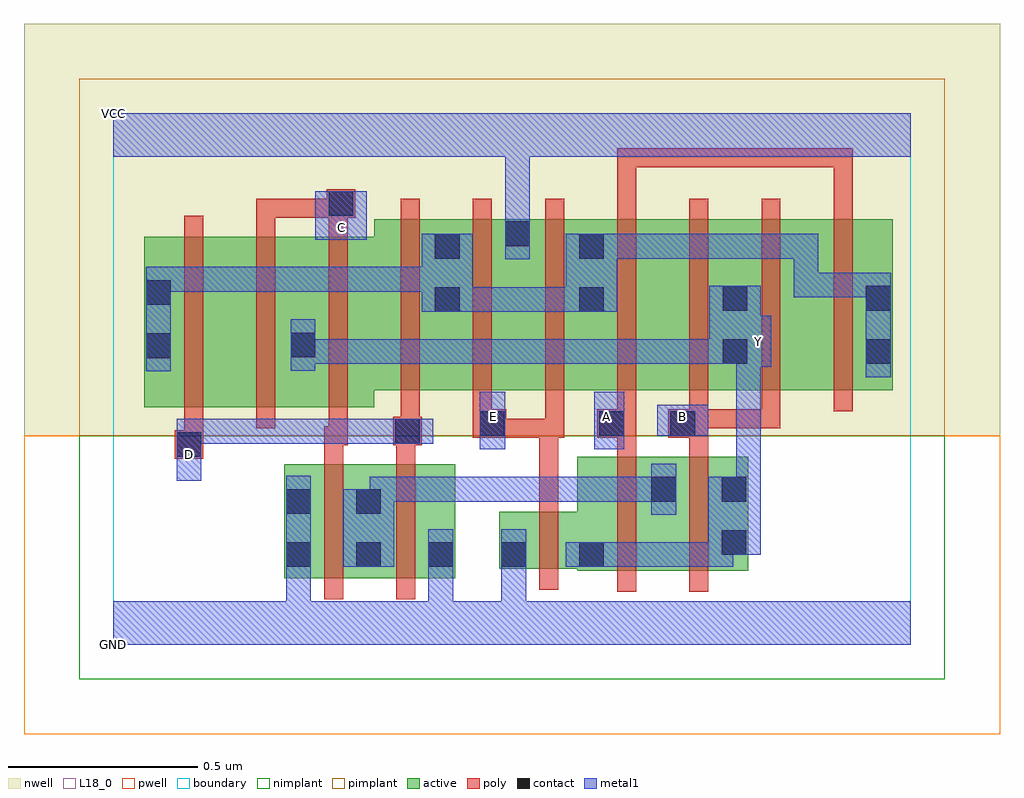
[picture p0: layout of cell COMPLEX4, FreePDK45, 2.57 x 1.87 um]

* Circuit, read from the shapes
.subckt COMPLEX4 A B C D E GND VCC Y
M1 n1 C GND VSUBS nfet w=0.3u l=0.05u
M2 GND D n1 VSUBS nfet w=0.3u l=0.05u
M3 Y E GND VSUBS nfet w=0.15u l=0.05u
M4 n1 A Y VSUBS nfet w=0.3u l=0.05u
M5 Y B n1 VSUBS nfet w=0.3u l=0.05u
M6 n2 D n3 n4 pfet w=0.45u l=0.05u
M7 Y C n2 n4 pfet w=0.45u l=0.05u
M8 n5 C Y n4 pfet w=0.45u l=0.05u
M9 n3 D n5 n4 pfet w=0.45u l=0.05u
M10 VCC E n3 n4 pfet w=0.45u l=0.05u m=2
M11 n6 A n3 n4 pfet w=0.45u l=0.05u
M12 Y B n6 n4 pfet w=0.45u l=0.05u
M13 n7 B Y n4 pfet w=0.45u l=0.05u
M14 n3 A n7 n4 pfet w=0.45u l=0.05u
.ends

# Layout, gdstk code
import gdstk
lib = gdstk.Library(unit=1e-6, precision=1e-09)
def R(c, l, rs):  # rectangles x0, y0, x1, y1
    for r in rs: c.add(gdstk.rectangle(r[:2], r[2:], *l))
def A(c, l, x, y, w, h, nx, ny, dx, dy):  # array of equal rectangles
    R(c, l, [(x+i*dx, y+j*dy, x+i*dx+w, y+j*dy+h) for i in range(nx) for j in range(ny)])
active = (1, 0)
pwell = (2, 0)
nwell = (3, 0)
nimplant = (4, 0)
pimplant = (5, 0)
poly = (9, 0)
contact = (10, 0)
metal1 = (11, 0)
L18_0 = (18, 0)
boundary = (235, 0)

complex4 = lib.new_cell('COMPLEX4')
R(complex4, active, [(0.45,0.175,0.525,0.475), (0.45,0.175,0.71,0.475), (0.635,0.175,0.9,0.475), (0.825,0.175,0.9,0.392), (0.635,0.195,0.71,0.475), (1.222,0.195,1.487,0.495), (1.412,0.195,1.672,0.495), (1.412,0.195,1.487,0.447), (1.597,0.195,1.672,0.495), (1.017,0.2,1.092,0.35), (1.017,0.2,1.297,0.35), (1.222,0.2,1.297,0.35), (0.082,0.625,0.307,1.075), (0.082,0.625,0.157,1.055), (0.307,0.625,0.537,1.075), (0.462,0.625,0.687,1.075), (0.687,0.67,0.917,1.12), (0.842,0.67,1.102,1.12), (1.027,0.67,1.297,1.12), (1.222,0.67,1.447,1.12), (1.447,0.67,1.675,1.12), (1.6,0.67,1.827,1.12), (1.827,0.67,2.052,1.12), (1.977,0.67,2.052,1.055), (1.222,0.722,1.297,1.087), (1.6,0.732,1.675,1.055), (0.462,0.752,0.537,0.877), (1.027,0.752,1.102,1.12), (0.842,0.857,0.917,1.087)])
R(complex4, pwell, [(-0.235,-0.235,2.335,0.55)])
R(complex4, nwell, [(-0.235,0.55,2.335,1.635)])
R(complex4, nimplant, [(-0.09,-0.09,2.19,0.55)])
R(complex4, pimplant, [(-0.09,0.55,2.19,1.49)])
A(complex4, poly, 0.187, 0.57, 0.05, 0.56, 3, 1, 0.19, 0)
A(complex4, poly, 1.327, 0.57, 0.05, 0.095, 3, 1, 0.19, 0)
A(complex4, poly, 0.757, 0.615, 0.05, 0.56, 7, 1, 0.19, 0)
R(complex4, poly, [(0.555,0.12,0.605,0.53), (0.745,0.12,0.795,0.53), (1.327,0.14,1.377,0.55), (1.517,0.14,1.567,0.55), (1.122,0.145,1.172,0.405), (1.122,0.355,1.172,0.595), (0.555,0.48,0.605,0.575), (0.745,0.48,0.795,0.575), (0.162,0.49,0.237,0.565), (1.327,0.5,1.377,0.595), (1.517,0.5,1.567,0.595), (0.187,0.515,0.237,0.62), (0.555,0.525,0.617,0.575), (0.567,0.525,0.617,0.62), (0.737,0.525,0.812,0.6), (0.947,0.545,1.035,0.62), (0.985,0.545,1.172,0.595), (1.122,0.545,1.172,0.595), (1.122,0.545,1.172,0.595), (1.122,0.545,1.187,0.595), (1.137,0.545,1.187,0.665), (1.275,0.545,1.377,0.62), (1.462,0.545,1.567,0.62), (0.757,0.55,0.807,0.665), (0.947,0.57,0.997,0.665), (1.517,0.57,1.567,0.62), (1.517,0.57,1.567,0.62), (1.517,0.57,1.757,0.62), (1.707,0.57,1.757,0.62), (0.377,1.08,0.427,1.175), (0.567,1.08,0.617,1.175), (0.377,1.125,0.427,1.175), (0.377,1.125,0.427,1.175), (0.377,1.125,0.427,1.175), (0.377,1.125,0.612,1.175), (0.562,1.125,0.637,1.2), (1.327,1.125,1.377,1.307), (1.897,1.125,1.947,1.307), (1.327,1.257,1.377,1.307), (1.327,1.257,1.377,1.307), (1.327,1.257,1.377,1.307), (1.327,1.257,1.625,1.307), (1.575,1.257,1.625,1.307), (1.575,1.257,1.625,1.307), (1.575,1.257,1.625,1.307), (1.575,1.257,1.815,1.307), (1.765,1.257,1.815,1.307), (1.765,1.257,1.947,1.307), (1.897,1.257,1.947,1.307), (1.897,1.257,1.947,1.307), (1.897,1.257,1.947,1.307)])
R(complex4, contact, [(0.455,0.205,0.52,0.27), (0.64,0.205,0.705,0.27), (0.83,0.205,0.895,0.27), (1.022,0.205,1.087,0.27), (1.227,0.205,1.292,0.27), (1.602,0.237,1.667,0.302), (0.455,0.345,0.52,0.41), (0.64,0.345,0.705,0.41), (1.417,0.377,1.482,0.442), (1.602,0.377,1.667,0.442), (0.167,0.495,0.232,0.56), (0.742,0.53,0.807,0.595), (0.965,0.55,1.03,0.615), (1.28,0.55,1.345,0.615), (1.467,0.55,1.532,0.615), (1.605,0.74,1.67,0.805), (1.982,0.74,2.047,0.805), (0.087,0.755,0.152,0.82), (0.467,0.757,0.532,0.822), (0.847,0.877,0.912,0.942), (1.227,0.877,1.292,0.942), (1.605,0.88,1.67,0.945), (1.982,0.88,2.047,0.945), (0.087,0.895,0.152,0.96), (0.847,1.017,0.912,1.082), (1.227,1.017,1.292,1.082), (1.032,1.05,1.097,1.115), (0.567,1.13,0.632,1.195)])
R(complex4, metal1, [(0,0,2.1,0.115), (0.455,0.05,0.52,0.235), (0.83,0.05,0.895,0.235), (1.022,0.05,1.087,0.115), (1.022,0.05,1.087,0.115), (1.022,0.05,1.087,0.235), (0.455,0.17,0.52,0.445), (0.83,0.17,0.895,0.305), (1.022,0.17,1.087,0.305), (0.605,0.205,0.74,0.41), (1.192,0.205,1.327,0.27), (1.262,0.205,1.327,0.27), (1.262,0.205,1.327,0.27), (1.262,0.205,1.495,0.27), (1.43,0.205,1.495,0.27), (1.43,0.205,1.495,0.27), (1.43,0.205,1.495,0.27), (1.43,0.205,1.632,0.27), (1.567,0.205,1.632,0.27), (1.567,0.205,1.632,0.302), (1.567,0.237,1.705,0.442), (1.417,0.342,1.482,0.477), (0.675,0.345,0.74,0.41), (0.675,0.345,0.74,0.442), (0.675,0.377,0.877,0.442), (0.812,0.377,0.877,0.442), (0.812,0.377,0.877,0.442), (0.812,0.377,0.877,0.442), (0.812,0.377,1.12,0.442), (1.055,0.377,1.12,0.442), (1.055,0.377,1.132,0.442), (1.067,0.377,1.132,0.442), (1.067,0.377,1.345,0.442), (1.28,0.377,1.345,0.442), (1.28,0.377,1.345,0.442), (1.28,0.377,1.345,0.442), (1.28,0.377,1.482,0.442), (1.64,0.377,1.705,0.797), (0.167,0.432,0.232,0.595), (0.965,0.515,1.032,0.667), (1.267,0.515,1.345,0.667), (0.167,0.53,0.37,0.595), (0.305,0.53,0.37,0.595), (0.305,0.53,0.37,0.595), (0.305,0.53,0.37,0.595), (0.305,0.53,0.532,0.595), (0.467,0.53,0.532,0.595), (0.467,0.53,0.532,0.595), (0.467,0.53,0.532,0.595), (0.467,0.53,0.74,0.595), (0.675,0.53,0.74,0.595), (0.675,0.53,0.772,0.595), (0.707,0.53,0.842,0.595), (1.432,0.55,1.567,0.632), (1.982,0.705,2.047,0.98), (0.087,0.72,0.152,0.995), (0.467,0.722,0.532,0.857), (1.64,0.732,1.732,0.867), (0.467,0.74,0.532,0.805), (0.467,0.74,0.532,0.805), (0.467,0.74,0.74,0.805), (0.675,0.74,0.74,0.805), (0.675,0.74,0.74,0.805), (0.675,0.74,0.74,0.805), (0.675,0.74,0.877,0.805), (0.812,0.74,0.877,0.805), (0.812,0.74,0.877,0.805), (0.812,0.74,0.877,0.805), (0.812,0.74,1.12,0.805), (1.055,0.74,1.12,0.805), (1.055,0.74,1.12,0.805), (1.055,0.74,1.12,0.805), (1.055,0.74,1.27,0.805), (1.205,0.74,1.27,0.805), (1.205,0.74,1.27,0.805), (1.205,0.74,1.27,0.805), (1.205,0.74,1.495,0.805), (1.43,0.74,1.495,0.805), (1.43,0.74,1.635,0.805), (1.57,0.74,1.635,0.805), (1.57,0.74,1.635,0.805), (1.57,0.74,1.705,0.945), (1.64,0.74,1.705,0.805), (0.812,0.877,0.947,1.082), (0.882,0.877,0.947,0.942), (0.882,0.877,0.947,0.942), (0.882,0.877,1.12,0.942), (1.055,0.877,1.12,0.942), (1.055,0.877,1.12,0.942), (1.055,0.877,1.12,0.942), (1.055,0.877,1.257,0.942), (1.192,0.877,1.327,1.082), (1.792,0.915,1.857,0.98), (1.792,0.915,2.047,0.98), (1.792,0.915,1.857,1.082), (1.982,0.915,2.047,0.98), (1.982,0.915,2.047,0.98), (0.087,0.93,0.152,0.995), (0.087,0.93,0.152,0.995), (0.087,0.93,0.37,0.995), (0.305,0.93,0.37,0.995), (0.305,0.93,0.37,0.995), (0.305,0.93,0.37,0.995), (0.305,0.93,0.37,0.995), (0.305,0.93,0.37,0.995), (0.305,0.93,0.532,0.995), (0.467,0.93,0.532,0.995), (0.467,0.93,0.532,0.995), (0.467,0.93,0.532,0.995), (0.467,0.93,0.74,0.995), (0.675,0.93,0.74,0.995), (0.675,0.93,0.74,0.995), (0.675,0.93,0.74,0.995), (0.675,0.93,0.877,0.995), (1.032,1.015,1.097,1.15), (1.262,1.017,1.327,1.082), (1.262,1.017,1.327,1.082), (1.262,1.017,1.495,1.082), (1.43,1.017,1.495,1.082), (1.43,1.017,1.495,1.082), (1.43,1.017,1.495,1.082), (1.43,1.017,1.632,1.082), (1.567,1.017,1.632,1.082), (1.567,1.017,1.857,1.082), (1.792,1.017,1.857,1.082), (1.792,1.017,1.857,1.082), (1.792,1.017,1.857,1.082), (0.532,1.067,0.667,1.195), (1.032,1.085,1.097,1.15), (1.032,1.085,1.097,1.15), (1.032,1.085,1.097,1.35), (0,1.285,2.1,1.4), (1.032,1.285,1.097,1.35), (1.032,1.285,1.097,1.35)])
R(complex4, L18_0, [(0,0,2.1,0.115), (0.455,0.05,0.52,0.235), (0.83,0.05,0.895,0.235), (1.022,0.05,1.087,0.115), (1.022,0.05,1.087,0.115), (1.022,0.05,1.087,0.235), (0.455,0.17,0.52,0.445), (0.83,0.17,0.895,0.305), (1.022,0.17,1.087,0.305), (1.192,0.205,1.327,0.27), (1.262,0.205,1.327,0.27), (1.262,0.205,1.327,0.27), (1.262,0.205,1.495,0.27), (1.43,0.205,1.495,0.27), (1.43,0.205,1.495,0.27), (1.43,0.205,1.495,0.27), (1.43,0.205,1.632,0.27), (1.567,0.205,1.632,0.27), (1.567,0.205,1.632,0.302), (1.567,0.237,1.705,0.442), (1.64,0.377,1.705,0.797), (0.167,0.432,0.232,0.595), (0.167,0.467,0.232,0.532), (0.965,0.515,1.032,0.667), (1.267,0.515,1.345,0.667), (0.167,0.53,0.37,0.595), (0.305,0.53,0.37,0.595), (0.305,0.53,0.37,0.595), (0.305,0.53,0.37,0.595), (0.305,0.53,0.532,0.595), (0.467,0.53,0.532,0.595), (0.467,0.53,0.532,0.595), (0.467,0.53,0.532,0.595), (0.467,0.53,0.74,0.595), (0.675,0.53,0.74,0.595), (0.675,0.53,0.772,0.595), (0.707,0.53,0.842,0.595), (1.432,0.55,1.567,0.632), (0.967,0.567,1.032,0.632), (1.267,0.567,1.332,0.632), (1.467,0.567,1.532,0.632), (0.467,0.722,0.532,0.857), (1.64,0.732,1.732,0.867), (0.467,0.74,0.532,0.805), (0.467,0.74,0.532,0.805), (0.467,0.74,0.74,0.805), (0.675,0.74,0.74,0.805), (0.675,0.74,0.74,0.805), (0.675,0.74,0.74,0.805), (0.675,0.74,0.877,0.805), (0.812,0.74,0.877,0.805), (0.812,0.74,0.877,0.805), (0.812,0.74,0.877,0.805), (0.812,0.74,1.12,0.805), (1.055,0.74,1.12,0.805), (1.055,0.74,1.12,0.805), (1.055,0.74,1.12,0.805), (1.055,0.74,1.27,0.805), (1.205,0.74,1.27,0.805), (1.205,0.74,1.27,0.805), (1.205,0.74,1.27,0.805), (1.205,0.74,1.495,0.805), (1.43,0.74,1.495,0.805), (1.43,0.74,1.635,0.805), (1.57,0.74,1.635,0.805), (1.57,0.74,1.635,0.805), (1.57,0.74,1.705,0.945), (1.64,0.74,1.705,0.805), (1.667,0.767,1.732,0.832), (1.032,1.015,1.097,1.15), (0.532,1.067,0.667,1.195), (0.567,1.067,0.632,1.132), (1.032,1.085,1.097,1.15), (1.032,1.085,1.097,1.15), (1.032,1.085,1.097,1.35), (0,1.285,2.1,1.4), (1.032,1.285,1.097,1.35), (1.032,1.285,1.097,1.35)])
R(complex4, boundary, [(0,0,2.1,1.4)])
complex4.add(gdstk.Label('A', (1.3,0.6), layer=11, texttype=0))
complex4.add(gdstk.Label('B', (1.5,0.6), layer=11, texttype=0))
complex4.add(gdstk.Label('C', (0.6,1.1), layer=11, texttype=0))
complex4.add(gdstk.Label('D', (0.2,0.5), layer=11, texttype=0))
complex4.add(gdstk.Label('E', (1,0.6), layer=11, texttype=0))
complex4.add(gdstk.Label('Y', (1.7,0.8), layer=11, texttype=0))
complex4.add(gdstk.Label('VCC', (0,1.4), layer=11, texttype=0))
complex4.add(gdstk.Label('GND', (0,0), layer=11, texttype=0))

lib.write_gds('COMPLEX4.gds')
